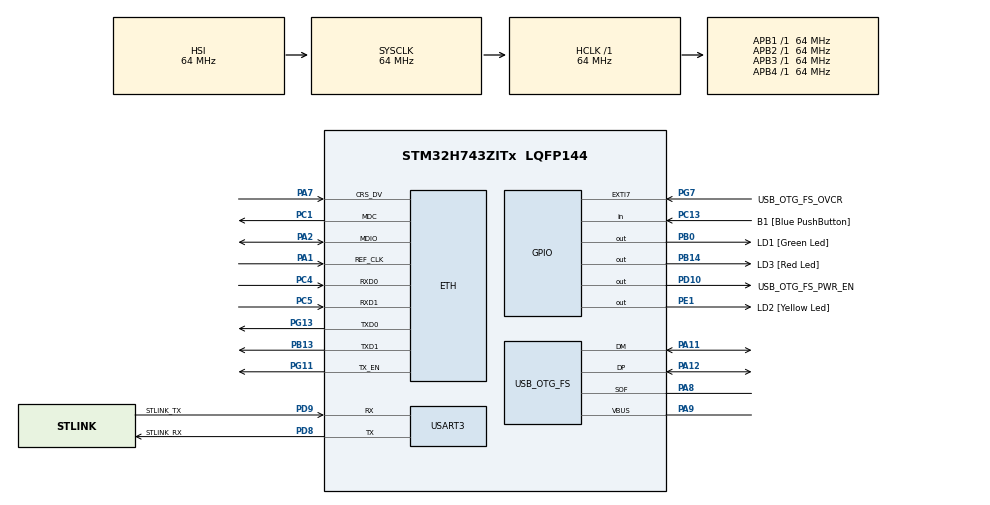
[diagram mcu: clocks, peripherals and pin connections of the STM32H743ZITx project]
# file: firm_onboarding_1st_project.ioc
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ETH.MediaInterface=HAL_ETH_RMII_MODE
Mcu.Family=STM32H7
Mcu.Name=STM32H743ZITx
Mcu.Package=LQFP144
NVIC.PriorityGroup=NVIC_PRIORITYGROUP_4
NVIC.TIM16_IRQn=true\:0\:0\:false\:false\:true\:true\:true\:true
PA1.Mode=RMII
PA1.Signal=ETH_REF_CLK
PA11.Mode=Device_Only
PA11.Signal=USB_OTG_FS_DM
PA12.Mode=Device_Only
PA12.Signal=USB_OTG_FS_DP
PA2.Mode=RMII
PA2.Signal=ETH_MDIO
PA7.Mode=RMII
PA7.Signal=ETH_CRS_DV
PA8.Mode=Activate_SOF_FS
PA8.Signal=USB_OTG_FS_SOF
PA9.Mode=Activate_VBUS
PA9.Signal=USB_OTG_FS_VBUS
PB0.GPIO_Label=LD1 [Green Led]
PB0.Signal=GPIO_Output
PB13.Mode=RMII
PB13.Signal=ETH_TXD1
PB14.GPIO_Label=LD3 [Red Led]
PB14.Signal=GPIO_Output
PC1.Mode=RMII
PC1.Signal=ETH_MDC
PC13.GPIO_Label=B1 [Blue PushButton]
PC13.Signal=GPIO_Input
PC14-OSC32_IN\ (OSC32_IN).Mode=LSE-External-Oscillator
PC14-OSC32_IN\ (OSC32_IN).Signal=RCC_OSC32_IN
PC15-OSC32_OUT\ (OSC32_OUT).Mode=LSE-External-Oscillator
PC15-OSC32_OUT\ (OSC32_OUT).Signal=RCC_OSC32_OUT
PC4.Mode=RMII
PC4.Signal=ETH_RXD0
PC5.Mode=RMII
PC5.Signal=ETH_RXD1
PD10.GPIO_Label=USB_OTG_FS_PWR_EN
PD10.Signal=GPIO_Output
PD8.GPIO_Label=STLINK_RX
PD8.Mode=Asynchronous
PD8.Signal=USART3_TX
PD9.GPIO_Label=STLINK_TX
PD9.Mode=Asynchronous
PD9.Signal=USART3_RX
PE1.GPIO_Label=LD2 [Yellow Led]
PE1.Signal=GPIO_Output
PG11.Mode=RMII
PG11.Signal=ETH_TX_EN
PG13.Mode=RMII
PG13.Signal=ETH_TXD0
PG7.GPIO_Label=USB_OTG_FS_OVCR
PG7.Signal=GPXTI7
PH0-OSC_IN\ (PH0).Mode=HSE-External-Clock-Source
PH0-OSC_IN\ (PH0).Signal=RCC_OSC_IN
PH1-OSC_OUT\ (PH1).Signal=RCC_OSC_OUT
ProjectManager.HeapSize=0x200
ProjectManager.StackSize=0x400
ProjectManager.TargetToolchain=STM32CubeIDE
RCC.ADCFreq_Value=16125000
RCC.APB1Freq_Value=64000000
RCC.APB2Freq_Value=64000000
RCC.APB3Freq_Value=64000000
RCC.APB4Freq_Value=64000000
RCC.CortexFreq_Value=64000000
RCC.DIVM1=1
RCC.DIVN1=24
RCC.DIVQ1=4
RCC.HCLKFreq_Value=64000000
RCC.HSE_VALUE=8000000
RCC.PLLFRACN=0
RCC.PWR_Regulator_Voltage_Scale=PWR_REGULATOR_VOLTAGE_SCALE2
RCC.SYSCLKFreq_VALUE=64000000
RCC.USBFreq_Value=48000000
TIM16.Period=5000 - 1
TIM16.Prescaler=6400 - 1
USART3.VirtualMode-Asynchronous=VM_ASYNC
USB_OTG_FS.VirtualMode=Device_Only
VP_TIM16_VS_ClockSourceINT.Mode=Enable_Timer
board=NUCLEO-H743ZI2

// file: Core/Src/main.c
/* USER CODE BEGIN Header */
/**
  ******************************************************************************
  * @file           : main.c
  * @brief          : Main program body
  ******************************************************************************
  * @attention
  *
  * Copyright (c) 2022 STMicroelectronics.
  * All rights reserved.
  *
  * This software is licensed under terms that can be found in the LICENSE file
  * in the root directory of this software component.
  * If no LICENSE file comes with this software, it is provided AS-IS.
  *
  ******************************************************************************
  */
/* USER CODE END Header */
#include "main.h"
#include "string.h"

/* USER CODE BEGIN Includes */
#include <stdint.h>
/* USER CODE END Includes */

#if defined ( __ICCARM__ ) /*!< IAR Compiler */
#pragma location=0x30000000
ETH_DMADescTypeDef  DMARxDscrTab[ETH_RX_DESC_CNT]; /* Ethernet Rx DMA Descriptors */
#pragma location=0x30000200
ETH_DMADescTypeDef  DMATxDscrTab[ETH_TX_DESC_CNT]; /* Ethernet Tx DMA Descriptors */

#elif defined ( __CC_ARM )  /* MDK ARM Compiler */

__attribute__((at(0x30000000))) ETH_DMADescTypeDef  DMARxDscrTab[ETH_RX_DESC_CNT]; /* Ethernet Rx DMA Descriptors */
__attribute__((at(0x30000200))) ETH_DMADescTypeDef  DMATxDscrTab[ETH_TX_DESC_CNT]; /* Ethernet Tx DMA Descriptors */

#elif defined ( __GNUC__ ) /* GNU Compiler */
ETH_DMADescTypeDef DMARxDscrTab[ETH_RX_DESC_CNT] __attribute__((section(".RxDecripSection"))); /* Ethernet Rx DMA Descriptors */
ETH_DMADescTypeDef DMATxDscrTab[ETH_TX_DESC_CNT] __attribute__((section(".TxDecripSection")));   /* Ethernet Tx DMA Descriptors */

#endif

ETH_TxPacketConfig TxConfig;

ETH_HandleTypeDef heth;

TIM_HandleTypeDef htim16;

UART_HandleTypeDef huart3;

PCD_HandleTypeDef hpcd_USB_OTG_FS;

void SystemClock_Config(void);
static void MX_GPIO_Init(void);
static void MX_ETH_Init(void);
static void MX_USART3_UART_Init(void);
static void MX_USB_OTG_FS_PCD_Init(void);
static void MX_TIM16_Init(void);

/* USER CODE BEGIN 0 */

uint16_t LED_number = 0;

GPIO_TypeDef* LED_port_array[3] = {GPIOB, GPIOE, GPIOB};
uint16_t LED_pin_array[3] = {GPIO_PIN_0, GPIO_PIN_1, GPIO_PIN_14};
uint16_t LED_ARR_array[3] = {5000 - 1, 2500 - 1, 1250 - 1};

/* USER CODE END 0 */

int main(void)
{

  /* MCU Configuration--------------------------------------------------------*/

  /* Reset of all peripherals, Initializes the Flash interface and the Systick. */
  HAL_Init();

  /* Configure the system clock */
  SystemClock_Config();

  /* Initialize all configured peripherals */
  MX_GPIO_Init();
  MX_ETH_Init();
  MX_USART3_UART_Init();
  MX_USB_OTG_FS_PCD_Init();
  MX_TIM16_Init();
  /* USER CODE BEGIN 2 */

  // Start timer
  HAL_TIM_Base_Start_IT(&htim16);

  // Variables for detecting button release
  uint16_t prev_button_state = 0;
  uint16_t curr_button_state = 0;

  /* USER CODE END 2 */

  /* Infinite loop */
  /* USER CODE BEGIN WHILE */
  while (1)
  {
	  curr_button_state = HAL_GPIO_ReadPin(GPIOC, GPIO_PIN_13);
	  if (curr_button_state == 0 && prev_button_state != curr_button_state) {
		  LED_number = (LED_number + 1) % 3;
		  __HAL_TIM_SET_COUNTER(&htim16, LED_ARR_array[LED_number]);
		  __HAL_TIM_SET_AUTORELOAD(&htim16, LED_ARR_array[LED_number]);
		  for (int i = 0; i < 3; i++) {
			  HAL_GPIO_WritePin(LED_port_array[i], LED_pin_array[i], RESET);
		  }
	  }
	  prev_button_state = curr_button_state;
    /* USER CODE END WHILE */

  }
}

void SystemClock_Config(void)
{
  RCC_OscInitTypeDef RCC_OscInitStruct = {0};
  RCC_ClkInitTypeDef RCC_ClkInitStruct = {0};

  /** Supply configuration update enable
  */
  HAL_PWREx_ConfigSupply(PWR_LDO_SUPPLY);

  /** Configure the main internal regulator output voltage
  */
  __HAL_PWR_VOLTAGESCALING_CONFIG(PWR_REGULATOR_VOLTAGE_SCALE2);

  while(!__HAL_PWR_GET_FLAG(PWR_FLAG_VOSRDY)) {}

  /** Initializes the RCC Oscillators according to the specified parameters
  * in the RCC_OscInitTypeDef structure.
  */
  RCC_OscInitStruct.OscillatorType = RCC_OSCILLATORTYPE_HSI|RCC_OSCILLATORTYPE_HSE;
  RCC_OscInitStruct.HSEState = RCC_HSE_BYPASS;
  RCC_OscInitStruct.HSIState = RCC_HSI_DIV1;
  RCC_OscInitStruct.HSICalibrationValue = RCC_HSICALIBRATION_DEFAULT;
  RCC_OscInitStruct.PLL.PLLState = RCC_PLL_ON;
  RCC_OscInitStruct.PLL.PLLSource = RCC_PLLSOURCE_HSE;
  RCC_OscInitStruct.PLL.PLLM = 1;
  RCC_OscInitStruct.PLL.PLLN = 24;
  RCC_OscInitStruct.PLL.PLLP = 2;
  RCC_OscInitStruct.PLL.PLLQ = 4;
  RCC_OscInitStruct.PLL.PLLR = 2;
  RCC_OscInitStruct.PLL.PLLRGE = RCC_PLL1VCIRANGE_3;
  RCC_OscInitStruct.PLL.PLLVCOSEL = RCC_PLL1VCOWIDE;
  RCC_OscInitStruct.PLL.PLLFRACN = 0;
  if (HAL_RCC_OscConfig(&RCC_OscInitStruct) != HAL_OK)
  {
    Error_Handler();
  }

  /** Initializes the CPU, AHB and APB buses clocks
  */
  RCC_ClkInitStruct.ClockType = RCC_CLOCKTYPE_HCLK|RCC_CLOCKTYPE_SYSCLK
                              |RCC_CLOCKTYPE_PCLK1|RCC_CLOCKTYPE_PCLK2
                              |RCC_CLOCKTYPE_D3PCLK1|RCC_CLOCKTYPE_D1PCLK1;
  RCC_ClkInitStruct.SYSCLKSource = RCC_SYSCLKSOURCE_HSI;
  RCC_ClkInitStruct.SYSCLKDivider = RCC_SYSCLK_DIV1;
  RCC_ClkInitStruct.AHBCLKDivider = RCC_HCLK_DIV1;
  RCC_ClkInitStruct.APB3CLKDivider = RCC_APB3_DIV1;
  RCC_ClkInitStruct.APB1CLKDivider = RCC_APB1_DIV1;
  RCC_ClkInitStruct.APB2CLKDivider = RCC_APB2_DIV1;
  RCC_ClkInitStruct.APB4CLKDivider = RCC_APB4_DIV1;

  if (HAL_RCC_ClockConfig(&RCC_ClkInitStruct, FLASH_LATENCY_1) != HAL_OK)
  {
    Error_Handler();
  }
}

static void MX_ETH_Init(void)
{

   static uint8_t MACAddr[6];

  heth.Instance = ETH;
  MACAddr[0] = 0x00;
  MACAddr[1] = 0x80;
  MACAddr[2] = 0xE1;
  MACAddr[3] = 0x00;
  MACAddr[4] = 0x00;
  MACAddr[5] = 0x00;
  heth.Init.MACAddr = &MACAddr[0];
  heth.Init.MediaInterface = HAL_ETH_RMII_MODE;
  heth.Init.TxDesc = DMATxDscrTab;
  heth.Init.RxDesc = DMARxDscrTab;
  heth.Init.RxBuffLen = 1524;

  if (HAL_ETH_Init(&heth) != HAL_OK)
  {
    Error_Handler();
  }

  memset(&TxConfig, 0 , sizeof(ETH_TxPacketConfig));
  TxConfig.Attributes = ETH_TX_PACKETS_FEATURES_CSUM | ETH_TX_PACKETS_FEATURES_CRCPAD;
  TxConfig.ChecksumCtrl = ETH_CHECKSUM_IPHDR_PAYLOAD_INSERT_PHDR_CALC;
  TxConfig.CRCPadCtrl = ETH_CRC_PAD_INSERT;

}

static void MX_TIM16_Init(void)
{

  htim16.Instance = TIM16;
  htim16.Init.Prescaler = 6400 - 1;
  htim16.Init.CounterMode = TIM_COUNTERMODE_UP;
  htim16.Init.Period = 5000 - 1;
  htim16.Init.ClockDivision = TIM_CLOCKDIVISION_DIV1;
  htim16.Init.RepetitionCounter = 0;
  htim16.Init.AutoReloadPreload = TIM_AUTORELOAD_PRELOAD_DISABLE;
  if (HAL_TIM_Base_Init(&htim16) != HAL_OK)
  {
    Error_Handler();
  }

}

static void MX_USART3_UART_Init(void)
{

  huart3.Instance = USART3;
  huart3.Init.BaudRate = 115200;
  huart3.Init.WordLength = UART_WORDLENGTH_8B;
  huart3.Init.StopBits = UART_STOPBITS_1;
  huart3.Init.Parity = UART_PARITY_NONE;
  huart3.Init.Mode = UART_MODE_TX_RX;
  huart3.Init.HwFlowCtl = UART_HWCONTROL_NONE;
  huart3.Init.OverSampling = UART_OVERSAMPLING_16;
  huart3.Init.OneBitSampling = UART_ONE_BIT_SAMPLE_DISABLE;
  huart3.Init.ClockPrescaler = UART_PRESCALER_DIV1;
  huart3.AdvancedInit.AdvFeatureInit = UART_ADVFEATURE_NO_INIT;
  if (HAL_UART_Init(&huart3) != HAL_OK)
  {
    Error_Handler();
  }
  if (HAL_UARTEx_SetTxFifoThreshold(&huart3, UART_TXFIFO_THRESHOLD_1_8) != HAL_OK)
  {
    Error_Handler();
  }
  if (HAL_UARTEx_SetRxFifoThreshold(&huart3, UART_RXFIFO_THRESHOLD_1_8) != HAL_OK)
  {
    Error_Handler();
  }
  if (HAL_UARTEx_DisableFifoMode(&huart3) != HAL_OK)
  {
    Error_Handler();
  }

}

static void MX_USB_OTG_FS_PCD_Init(void)
{

  hpcd_USB_OTG_FS.Instance = USB_OTG_FS;
  hpcd_USB_OTG_FS.Init.dev_endpoints = 9;
  hpcd_USB_OTG_FS.Init.speed = PCD_SPEED_FULL;
  hpcd_USB_OTG_FS.Init.dma_enable = DISABLE;
  hpcd_USB_OTG_FS.Init.phy_itface = PCD_PHY_EMBEDDED;
  hpcd_USB_OTG_FS.Init.Sof_enable = ENABLE;
  hpcd_USB_OTG_FS.Init.low_power_enable = DISABLE;
  hpcd_USB_OTG_FS.Init.lpm_enable = DISABLE;
  hpcd_USB_OTG_FS.Init.battery_charging_enable = ENABLE;
  hpcd_USB_OTG_FS.Init.vbus_sensing_enable = ENABLE;
  hpcd_USB_OTG_FS.Init.use_dedicated_ep1 = DISABLE;
  if (HAL_PCD_Init(&hpcd_USB_OTG_FS) != HAL_OK)
  {
    Error_Handler();
  }

}

static void MX_GPIO_Init(void)
{
  GPIO_InitTypeDef GPIO_InitStruct = {0};

  /* GPIO Ports Clock Enable */
  __HAL_RCC_GPIOC_CLK_ENABLE();
  __HAL_RCC_GPIOH_CLK_ENABLE();
  __HAL_RCC_GPIOA_CLK_ENABLE();
  __HAL_RCC_GPIOB_CLK_ENABLE();
  __HAL_RCC_GPIOD_CLK_ENABLE();
  __HAL_RCC_GPIOG_CLK_ENABLE();
  __HAL_RCC_GPIOE_CLK_ENABLE();

  /*Configure GPIO pin Output Level */
  HAL_GPIO_WritePin(GPIOB, LD1_Pin|LD3_Pin, GPIO_PIN_RESET);

  /*Configure GPIO pin Output Level */
  HAL_GPIO_WritePin(USB_OTG_FS_PWR_EN_GPIO_Port, USB_OTG_FS_PWR_EN_Pin, GPIO_PIN_RESET);

  /*Configure GPIO pin Output Level */
  HAL_GPIO_WritePin(LD2_GPIO_Port, LD2_Pin, GPIO_PIN_RESET);

  /*Configure GPIO pin : B1_Pin */
  GPIO_InitStruct.Pin = B1_Pin;
  GPIO_InitStruct.Mode = GPIO_MODE_INPUT;
  GPIO_InitStruct.Pull = GPIO_NOPULL;
  HAL_GPIO_Init(B1_GPIO_Port, &GPIO_InitStruct);

  /*Configure GPIO pins : LD1_Pin LD3_Pin */
  GPIO_InitStruct.Pin = LD1_Pin|LD3_Pin;
  GPIO_InitStruct.Mode = GPIO_MODE_OUTPUT_PP;
  GPIO_InitStruct.Pull = GPIO_NOPULL;
  GPIO_InitStruct.Speed = GPIO_SPEED_FREQ_LOW;
  HAL_GPIO_Init(GPIOB, &GPIO_InitStruct);

  /*Configure GPIO pin : USB_OTG_FS_PWR_EN_Pin */
  GPIO_InitStruct.Pin = USB_OTG_FS_PWR_EN_Pin;
  GPIO_InitStruct.Mode = GPIO_MODE_OUTPUT_PP;
  GPIO_InitStruct.Pull = GPIO_NOPULL;
  GPIO_InitStruct.Speed = GPIO_SPEED_FREQ_LOW;
  HAL_GPIO_Init(USB_OTG_FS_PWR_EN_GPIO_Port, &GPIO_InitStruct);

  /*Configure GPIO pin : USB_OTG_FS_OVCR_Pin */
  GPIO_InitStruct.Pin = USB_OTG_FS_OVCR_Pin;
  GPIO_InitStruct.Mode = GPIO_MODE_IT_RISING;
  GPIO_InitStruct.Pull = GPIO_NOPULL;
  HAL_GPIO_Init(USB_OTG_FS_OVCR_GPIO_Port, &GPIO_InitStruct);

  /*Configure GPIO pin : LD2_Pin */
  GPIO_InitStruct.Pin = LD2_Pin;
  GPIO_InitStruct.Mode = GPIO_MODE_OUTPUT_PP;
  GPIO_InitStruct.Pull = GPIO_NOPULL;
  GPIO_InitStruct.Speed = GPIO_SPEED_FREQ_LOW;
  HAL_GPIO_Init(LD2_GPIO_Port, &GPIO_InitStruct);

}

/* USER CODE BEGIN 4 */

// Callback with Timer interrupt
void HAL_TIM_PeriodElapsedCallback (TIM_HandleTypeDef * htim)
{
	if (htim == &htim16)
	{
		if (LED_number == 0) {
			GPIOB->ODR ^= 1;
		} else {
			HAL_GPIO_TogglePin(LED_port_array[LED_number], LED_pin_array[LED_number]);
		}
	}

}

/* USER CODE END 4 */

void Error_Handler(void)
{
  __disable_irq();
  while (1)
  {
  }
}
